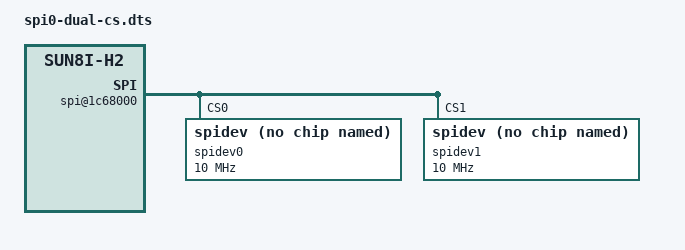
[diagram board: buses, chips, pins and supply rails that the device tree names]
/dts-v1/;
/plugin/;

/ {
    compatible = "allwinner,sun8i-h2-plus";

    fragment@0 {
        target-path = "/soc/spi@1c68000";
        __overlay__ {
            status = "okay";

            pinctrl-names = "default";
            pinctrl-0 = <&spi0_pins>;   /* use underscore, not dash */

            #address-cells = <1>;
            #size-cells = <0>;

            /* CS0 device */
            spidev0: spidev@0 {
                compatible = "spidev";
                reg = <0>;                       /* chip select 0 */
                spi-max-frequency = <10000000>;  /* 10 MHz default */
            };

            /* CS1 device */
            spidev1: spidev@1 {
                compatible = "spidev";
                reg = <1>;                       /* chip select 1 */
                spi-max-frequency = <10000000>;
            };
        };
    };
};

